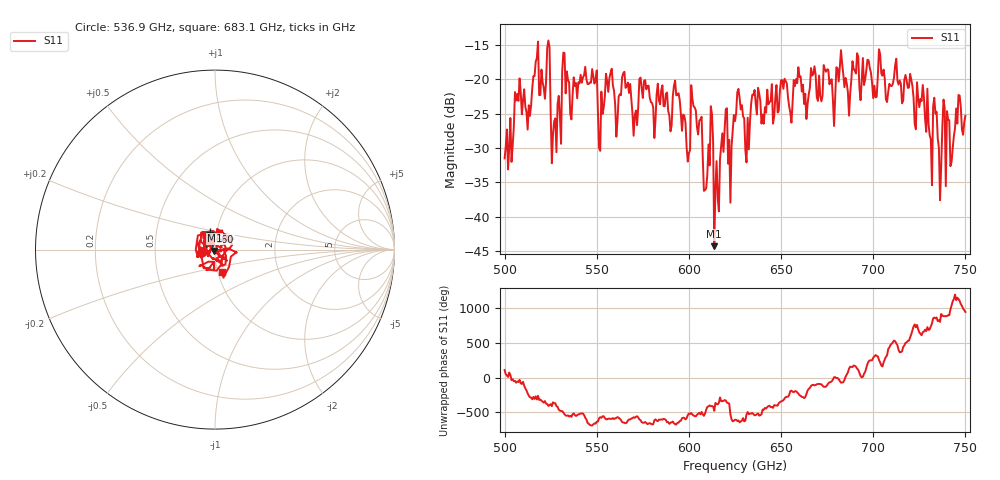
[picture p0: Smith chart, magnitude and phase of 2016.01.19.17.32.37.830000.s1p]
!Created with skrf (http://scikit-rf.org).
# GHz S RI R 50.0
!freq ReS11 ImS11
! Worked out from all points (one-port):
!   401 points, 500 GHz to 750 GHz, reference 50 ohm
!   lowest |S11| = -44.3 dB at 613.8 GHz (marker M1), VSWR 1.01, Z = 49.7 - j0.532 ohm
!   |S11| at or under -10 dB: start of sweep to end of sweep
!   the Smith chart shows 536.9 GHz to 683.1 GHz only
!   S11 on the Smith chart (normalised r, x): 536.9 GHz: 0.86, -0.03; 660 GHz: 0.93, +0.19; 683.1 GHz: 1.05, -0.27
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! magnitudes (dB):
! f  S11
! 500 GHz  -31.5
! 506.9 GHz  -22.1
! 513.1 GHz  -23.8
! 516.9 GHz  -17.4
! 523.8 GHz  -14.3
! 526.9 GHz  -26.1
! 531.2 GHz  -18.7
! 536.9 GHz  -22.3
! 562.5 GHz  -22.1
! 593.8 GHz  -22.3
! 599.4 GHz  -32.0
! 602.5 GHz  -23.9
! 608.8 GHz  -36.1
! 611.9 GHz  -23.9
! 613.8 GHz  -44.3
! 615 GHz  -31.9
! 619.4 GHz  -27.3
! 622.5 GHz  -37.9
! 625 GHz  -26.1
! 656.2 GHz  -23.4
! 660 GHz  -19.6
! 683.1 GHz  -17.7
! 687.5 GHz  -22.0
! 718.8 GHz  -21.2
! 731.2 GHz  -28.7
! 733.8 GHz  -25.0
! 736.2 GHz  -37.6
! 750 GHz  -25.3
